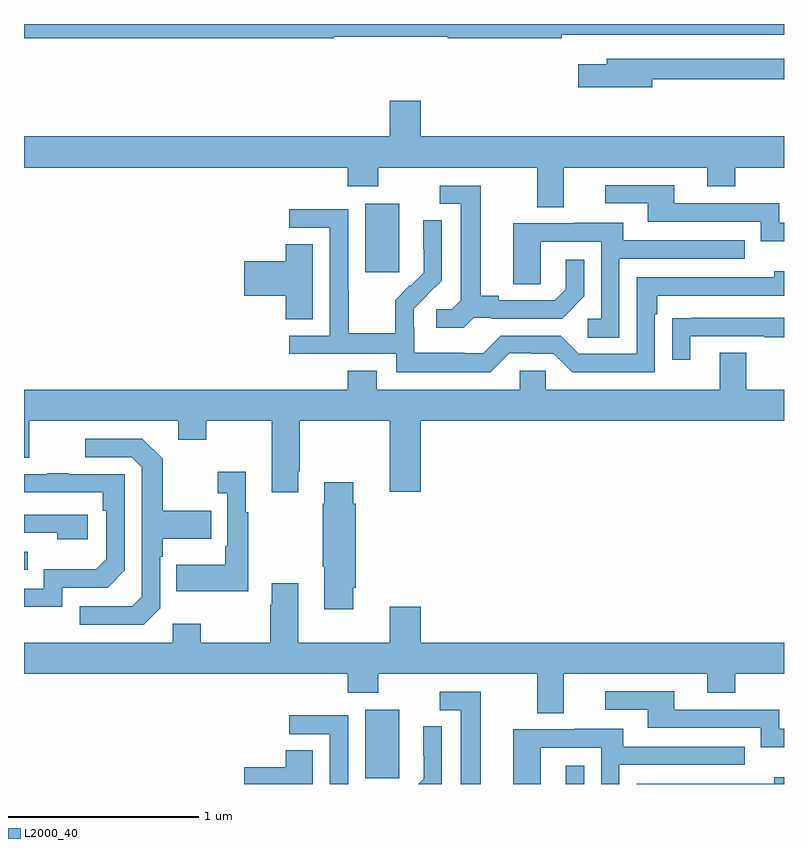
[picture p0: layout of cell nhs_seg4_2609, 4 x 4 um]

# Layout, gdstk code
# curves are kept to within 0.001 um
import gdstk
lib = gdstk.Library(unit=1e-6, precision=1e-09)
def R(c, l, rs):  # rectangles x0, y0, x1, y1
    for r in rs: c.add(gdstk.rectangle(r[:2], r[2:], *l))
def P(c, l, *ps):  # polygons
    for p in ps: c.add(gdstk.Polygon(p, *l))
L2000_40 = (2000, 40)

nhs_seg4_2609 = lib.new_cell('nhs_seg4_2609')
R(nhs_seg4_2609, L2000_40, [(249.851,802.9,249.948,802.996), (248.795,802.929,248.974,803.29), (247,804.027,247.019,804.123), (248.795,805.593,248.974,805.954)])
P(nhs_seg4_2609, L2000_40, [(248.63,806.832),(249.23,806.832),(249.23,806.824),(249.83,806.824),(249.83,806.844),(251,806.844),(251,806.9),(247,806.9),(247,806.824),(248.63,806.824)],
  [(250.306,806.61),(251,806.61),(251,806.718),(250.067,806.718),(250.067,806.689),(249.918,806.689),(249.918,806.567),(250.306,806.567)],
  [(249.841,806.144),(250.595,806.144),(250.595,806.045),(250.743,806.045),(250.743,806.144),(251,806.144),(251,806.308),(249.088,806.308),(249.088,806.497),(248.924,806.497),(248.924,806.308),(247,806.308),(247,806.144),(248.705,806.144),(248.705,806.045),(248.865,806.045),(248.865,806.144),(249.701,806.144),(249.701,805.936),(249.841,805.936)],
  [(251,805.854),(250.974,805.854),(250.974,805.956),(250.423,805.956),(250.423,806.052),(250.059,806.052),(250.059,805.956),(250.283,805.956),(250.283,805.86),(250.878,805.86),(250.878,805.757),(251,805.757)],
  [(249.366,805.353),(249.46,805.353),(249.46,805.35),(249.832,805.35),(249.948,805.466),(249.948,805.66),(249.851,805.66),(249.851,805.503),(249.794,805.446),(249.499,805.446),(249.499,805.469),(249.403,805.469),(249.403,806.049),(249.189,806.049),(249.189,805.953),(249.299,805.953),(249.299,805.445),(249.252,805.398),(249.171,805.398),(249.171,805.301),(249.314,805.301)],
  [(249.555,805.167),(249.671,805.167),(249.671,805.164),(249.789,805.164),(249.885,805.068),(250.32,805.068),(250.32,805.373),(250.333,805.373),(250.333,805.47),(251,805.47),(251,805.6),(250.949,805.6),(250.949,805.566),(250.224,805.566),(250.224,805.164),(249.921,805.164),(249.825,805.26),(249.51,805.26),(249.417,805.167),(249.317,805.167),(249.317,805.171),(249.054,805.171),(249.054,805.305),(249.052,805.305),(249.052,805.402),(249.198,805.55),(249.198,805.868),(249.102,805.868),(249.102,805.714),(249.104,805.714),(249.104,805.592),(249.033,805.521),(249.03,805.524),(248.953,805.447),(248.953,805.273),(248.709,805.273),(248.709,805.496),(248.706,805.496),(248.706,805.926),(248.397,805.926),(248.397,805.827),(248.61,805.827),(248.61,805.26),(248.397,805.26),(248.397,805.164),(248.958,805.164),(248.958,805.067),(249.455,805.067)],
  [(250.134,805.665),(250.793,805.665),(250.793,805.761),(250.153,805.761),(250.153,805.855),(249.899,805.855),(249.899,805.851),(249.575,805.851),(249.575,805.531),(249.72,805.531),(249.72,805.755),(250.038,805.755),(250.038,805.35),(249.966,805.35),(249.966,805.249),(250.134,805.249)],
  [(248.521,805.742),(248.378,805.742),(248.378,805.652),(248.16,805.652),(248.16,805.469),(248.378,805.469),(248.378,805.345),(248.521,805.345)],
  [(250.507,805.257),(250.897,805.257),(250.897,805.252),(251,805.252),(251,805.353),(250.513,805.353),(250.513,805.352),(250.411,805.352),(250.411,805.134),(250.507,805.134)],
  [(248.443,804.547),(248.451,804.547),(248.451,804.812),(248.924,804.812),(248.924,804.438),(249.088,804.438),(249.088,804.812),(251,804.812),(251,804.976),(250.801,804.976),(250.801,805.171),(250.661,805.171),(250.661,804.976),(249.747,804.976),(249.747,805.074),(249.609,805.074),(249.609,804.976),(248.857,804.976),(248.857,805.075),(248.705,805.075),(248.705,804.976),(247,804.976),(247,804.618),(247.027,804.618),(247.027,804.812),(247.811,804.812),(247.811,804.713),(247.959,804.713),(247.959,804.812),(248.303,804.812),(248.303,804.435),(248.443,804.435)],
  [(247.716,803.826),(247.716,804.095),(247.729,804.095),(247.729,804.191),(247.985,804.191),(247.985,804.339),(247.729,804.339),(247.729,804.611),(247.623,804.717),(247.323,804.717),(247.323,804.621),(247.566,804.621),(247.62,804.567),(247.62,803.886),(247.569,803.835),(247.293,803.835),(247.293,803.739),(247.629,803.739)],
  [(248.179,804.331),(248.167,804.331),(248.167,804.544),(248.019,804.544),(248.019,804.431),(248.07,804.431),(248.07,804.151),(248.058,804.151),(248.058,804.055),(247.801,804.055),(247.801,803.915),(248.179,803.915)],
  [(247.2,803.934),(247.44,803.934),(247.53,804.024),(247.53,804.531),(247.235,804.531),(247.235,804.536),(247.123,804.536),(247.123,804.531),(247,804.531),(247,804.435),(247.414,804.435),(247.414,804.338),(247.434,804.338),(247.434,804.084),(247.381,804.031),(247.104,804.031),(247.104,803.928),(247,803.928),(247,803.832),(247.2,803.832)],
  [(248.734,803.932),(248.747,803.932),(248.747,804.374),(248.734,804.374),(248.734,804.487),(248.579,804.487),(248.579,804.374),(248.572,804.374),(248.572,804.043),(248.579,804.043),(248.579,803.82),(248.734,803.82)],
  [(247.336,804.318),(247,804.318),(247,804.222),(247.175,804.222),(247.175,804.188),(247.336,804.188)],
  [(249.841,803.48),(250.595,803.48),(250.595,803.381),(250.743,803.381),(250.743,803.48),(251,803.48),(251,803.644),(249.088,803.644),(249.088,803.833),(248.924,803.833),(248.924,803.644),(248.443,803.644),(248.443,803.956),(248.303,803.956),(248.303,803.843),(248.296,803.843),(248.296,803.644),(247.929,803.644),(247.929,803.743),(247.782,803.743),(247.782,803.644),(247,803.644),(247,803.48),(248.705,803.48),(248.705,803.381),(248.865,803.381),(248.865,803.48),(249.701,803.48),(249.701,803.272),(249.841,803.272)],
  [(251,803.19),(250.974,803.19),(250.974,803.292),(250.423,803.292),(250.423,803.388),(250.059,803.388),(250.059,803.292),(250.283,803.292),(250.283,803.196),(250.878,803.196),(250.878,803.093),(251,803.093)],
  [(249.403,803.385),(249.189,803.385),(249.189,803.289),(249.299,803.289),(249.299,802.9),(249.403,802.9)],
  [(248.706,803.262),(248.397,803.262),(248.397,803.163),(248.61,803.163),(248.61,802.9),(248.706,802.9)],
  [(249.198,803.204),(249.102,803.204),(249.102,803.05),(249.104,803.05),(249.104,802.928),(249.076,802.9),(249.198,802.9)],
  [(249.72,803.091),(250.038,803.091),(250.038,802.9),(250.134,802.9),(250.134,803.001),(250.793,803.001),(250.793,803.097),(250.153,803.097),(250.153,803.191),(249.899,803.191),(249.899,803.187),(249.575,803.187),(249.575,802.9),(249.72,802.9)],
  [(248.521,803.078),(248.378,803.078),(248.378,802.988),(248.16,802.988),(248.16,802.9),(248.521,802.9)],
  [(251,802.936),(250.949,802.936),(250.949,802.902),(250.224,802.902),(250.224,802.9),(251,802.9)])

lib.write_gds('nhs_seg4_2609.gds')
